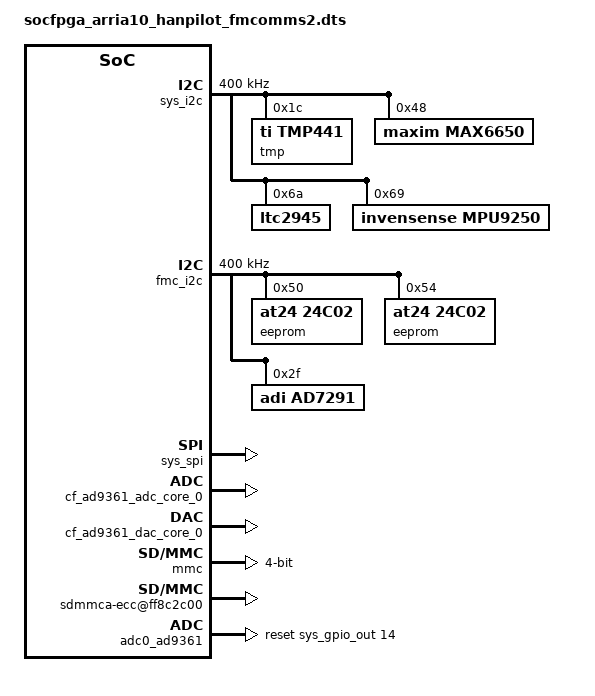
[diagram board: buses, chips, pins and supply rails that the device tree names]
/dts-v1/;
#include <dt-bindings/interrupt-controller/irq.h>
#include "socfpga_arria10_hanpilot.dtsi"

&mmc {
	status = "okay";
	cap-sd-highspeed;
	broken-cd;
	bus-width = <4>;
};

&eccmgr {
	sdmmca-ecc@ff8c2c00 {
		compatible = "altr,socfpga-sdmmc-ecc";
		reg = <0xff8c2c00 0x400>;
		altr,ecc-parent = <&mmc>;
		interrupts = <15 IRQ_TYPE_LEVEL_HIGH>,
			     <47 IRQ_TYPE_LEVEL_HIGH>,
			     <16 IRQ_TYPE_LEVEL_HIGH>,
			     <48 IRQ_TYPE_LEVEL_HIGH>;
	};
};

/ {
	clocks {
		sys_clk: sys_clk {
			#clock-cells = <0>;
			compatible = "fixed-clock";
			clock-frequency = <100000000>;
			clock-output-names = "system_clock";
		};

		dma_clk: dma_clk {
			#clock-cells = <0x0>;
			compatible = "fixed-clock";
			clock-frequency = <250000000>;
			clock-output-names = "dma_clk";
		};
	};

	soc {
		sys_hps_bridges: bridge@ff200000 {
			compatible = "simple-bus";
			reg = <0xff200000 0x00200000>;
			#address-cells = <1>;
			#size-cells = <1>;
			ranges = <0x00000000 0xff200000 0x00200000>;
			
      sys_i2c: i2c@80 {
        compatible = "altr,softip-i2c-v1.0";
        reg = <0x00000080 0x00000040>;
        interrupt-parent = <&intc>;
        interrupts = <0 34 IRQ_TYPE_LEVEL_HIGH>;
        clocks = <&sys_clk>;
        clock-frequency = <400000>;
        #address-cells = <1>;
        #size-cells = <0>;
        fifo-size = <64>;

        tmp@1C {
          compatible = "ti,tmp441";
          reg = <0x1C>;
        };
        
        max6650@48 {
          reg = <0x48>;
          compatible = "maxim,max6650";
          maxim,fan-microvolt = <12000000>;
          maxim,fan-prescale = <4>;
          maxim,fan-target-rpm = <6000>;
        };
        
        ltc2945@6A {
          compatible = "ltc2945";
          reg = <0x6A>;
        };
        

        mpu9250@69 {
          compatible = "invensense,mpu9250";
          reg = <0x69>;
          interrupt-parent = <&intc>;
          interrupts = <0 51 IRQ_TYPE_LEVEL_HIGH>;
        };

      };
      
      fmc_i2c: i2c@C0 {
        compatible = "altr,softip-i2c-v1.0";
        reg = <0x000000C0 0x00000040>;
        interrupt-parent = <&intc>;
        interrupts = <0 35 IRQ_TYPE_LEVEL_HIGH>;
        clocks = <&sys_clk>;
        clock-frequency = <400000>;
        #address-cells = <1>;
        #size-cells = <0>;
        fifo-size = <128>;

        eeprom@50 {
          compatible = "at24,24c02";
          reg = <0x50>;
        };

        eeprom@54 {
          compatible = "at24,24c02";
          reg = <0x54>;
        };

        ad7291@2f {
          compatible = "adi,ad7291";
          reg = <0x2f>;
        };

      };
			
      sys_gpio_bd: sys-gpio-bd@10 {
				compatible = "altr,pio-16.0", "altr,pio-1.0";
				reg = <0x00000010 0x00000010>;
				altr,gpio-bank-width = <32>;
				#gpio-cells = <2>;
				gpio-controller;
			};
			
      sys_gpio_in: sys-gpio-in@0 {
				compatible = "altr,pio-16.0", "altr,pio-1.0";
				reg = <0x00000000 0x00000010>;
				altr,gpio-bank-width = <32>;
				#gpio-cells = <2>;
				gpio-controller;
			};

			sys_gpio_out: sys_gpio_out@20 {
				compatible = "altr,pio-1.0";
				reg = <0x00000020 0x00000010>;
				altr,gpio-bank-width = <32>;
				resetvalue = <0>;
				#gpio-cells = <2>;
				gpio-controller;
			};

			sys_spi: spi@40 {
				compatible = "altr,spi-1.0";
				reg = <0x00000040 0x00000020>;
				interrupt-parent = <&intc>;
				interrupts = <0 26 IRQ_TYPE_LEVEL_HIGH>;
				#address-cells = <0x1>;
				#size-cells = <0x0>;
			};

			cf_ad9361_adc_core_0: cf-ad9361-lpc@20000 {
				compatible = "adi,axi-ad9361-6.00.a";
				reg = <0x00020000 0x00010000>;
				dmas = <&adc_dma 0>;
				dma-names = "rx";
				spibus-connected = <&adc0_ad9361>;
			};

			cf_ad9361_dac_core_0: cf-ad9361-dds-core-lpc@24000 {
				compatible = "adi,axi-ad9361-dds-6.00.a";
				reg = <0x00024000 0x00001000>;
				dmas = <&dac_dma 0>;
				dma-names = "tx";
				clocks = <&adc0_ad9361 13>;
				clock-names = "sampl_clk";
			};

			adc_dma: adc_dma@40000 {
				compatible = "adi,axi-dmac-1.00.a";
				reg = <0x00040000 0x00001000>;
				interrupt-parent = <&intc>;
				interrupts = <0 21 IRQ_TYPE_LEVEL_HIGH>;
				#dma-cells = <1>;
				clocks = <&dma_clk>;

				adi,channels {
					#size-cells = <0>;
					#address-cells = <1>;
					dma-channel@0 {
						reg = <0>;
						adi,source-bus-width = <64>;
						adi,source-bus-type = <2>;
						adi,destination-bus-width = <128>;
						adi,destination-bus-type = <0>;
					};
				};
			};

			dac_dma: dac_dma@44000 {
				compatible = "adi,axi-dmac-1.00.a";
				reg = <0x00044000 0x00001000>;
				interrupt-parent = <&intc>;
				interrupts = <0 22 IRQ_TYPE_LEVEL_HIGH>;
				#dma-cells = <1>;
				clocks = <&dma_clk>;
				adi,channels {
					#size-cells = <0>;
					#address-cells = <1>;
					dma-channel@0 {
						reg = <0>;
						adi,source-bus-width = <64>;
						adi,source-bus-type = <0>;
						adi,destination-bus-width = <64>;
						adi,destination-bus-type = <1>;
					};
				};
			};
		};
	};
};


#define fmc_spi sys_spi
#define fmc_i2c i2c0

#include "adi-fmcomms2.dtsi"

&adc0_ad9361 {
	/delete-property/ spi-cpha;
	
	adi,rx-data-delay = <0>;
  adi,rx-data-clock-delay = <0>;
  adi,lvds-bias-mV = <200>;
  
  /* adi,lvds-rx-onchip-termination-enable; */
  
	/* GPIO */
	reset-gpios = <&sys_gpio_out 14 0>;
	sync-gpios = <&sys_gpio_out 13 0>;
	en_agc-gpios = <&sys_gpio_out 12 0>;

	/* AXI Converter */
	/*adi,axi-half-dac-rate-enable;*/
	adi,bb-clk-change-dig-tune-enable;
};
